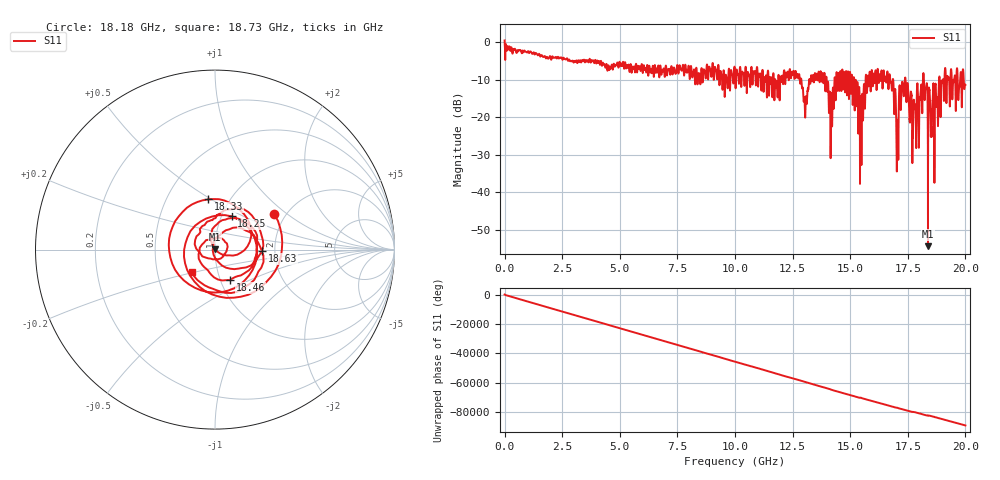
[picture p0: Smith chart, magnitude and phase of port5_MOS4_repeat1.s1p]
! MS46122B
! 2250307/22442219
! 7/23/2025 8:05:29 AM
! C:\USERS\SPARKY\DOCUMENTS\VNA_DATA\JULY23_2025\3K\PORT5_MOS4_REPEAT1.S1P
! CHANNEL.1
! TR.MEASUREMENT
! RAW.DATA
# GHZ S RI R 50.0
! FREQ.GHZ  S11RE  S11IM
!; PortSelection: Port_1
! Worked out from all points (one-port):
!   10001 points, 1 MHz to 20 GHz, reference 50 ohm
!   lowest |S11| = -54.4 dB at 18.38 GHz (marker M1), VSWR 1.00, Z = 50 + j0.19 ohm
!   |S11| at or under -10 dB: 16.87 GHz to 17.37 GHz (507.8 MHz wide, 2.97 % of centre); 17.4 GHz to 18.16 GHz (756.3 MHz wide, 4.25 % of centre); 18.2 GHz to 18.86 GHz (655.2 MHz wide, 3.54 % of centre) (the widest 3 of 83)
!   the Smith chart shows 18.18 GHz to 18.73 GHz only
!   S11 on the Smith chart (normalised r, x): 18.18 GHz: 1.75, +0.81; 18.25 GHz: 1.12, +0.43; 18.33 GHz: 0.80, +0.48; 18.46 GHz: 1.11, -0.39; 18.63 GHz: 1.71, -0.03; 18.73 GHz: 0.75, -0.19
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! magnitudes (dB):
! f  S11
! 1 MHz  0.4
! 2.501 GHz  -4.6
! 5.001 GHz  -5.4
! 7.501 GHz  -6.2
! 10 GHz  -7.9
! 12.5 GHz  -8.9
! 13.05 GHz  -19.3
! 13.3 GHz  -8.9
! 13.8 GHz  -8.3
! 14.15 GHz  -27.1
! 14.49 GHz  -8.2
! 15 GHz  -8.6
! 15.44 GHz  -20.4
! 15.77 GHz  -8.9
! 16.68 GHz  -10.1
! 17.01 GHz  -25.0
! 17.32 GHz  -13.6
! 17.5 GHz  -11.6
! 17.78 GHz  -17.0
! 18.18 GHz  -8.3
! 18.25 GHz  -13.7
! 18.33 GHz  -11.0
! 18.38 GHz  -54.4
! 18.46 GHz  -14.5
! 18.63 GHz  -11.6
! 18.73 GHz  -15.0
! 19.05 GHz  -12.1
! 20 GHz  -11.5
